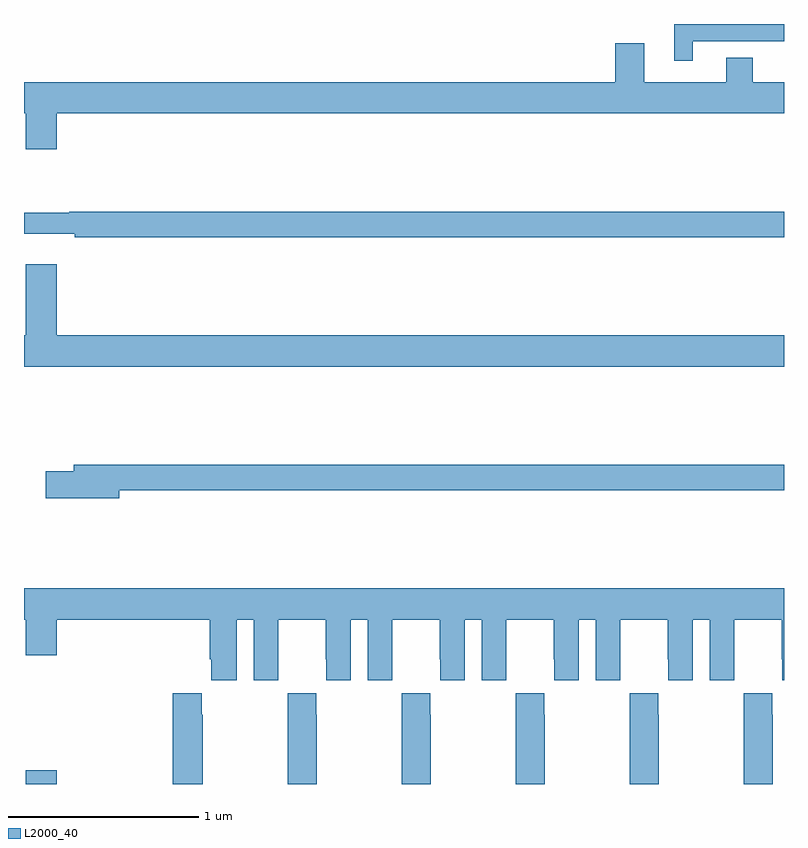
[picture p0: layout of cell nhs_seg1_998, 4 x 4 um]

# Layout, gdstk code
import gdstk
lib = gdstk.Library(unit=1e-6, precision=1e-09)
def R(c, l, rs):  # rectangles x0, y0, x1, y1
    for r in rs: c.add(gdstk.rectangle(r[:2], r[2:], *l))
def P(c, l, *ps):  # polygons
    for p in ps: c.add(gdstk.Polygon(p, *l))
L2000_40 = (2000, 40)

nhs_seg1_998 = lib.new_cell('nhs_seg1_998')
R(nhs_seg1_998, L2000_40, [(165.008,552.199,165.172,552.271)])
P(nhs_seg1_998, L2000_40, [(168.52,556.107),(169,556.107),(169,556.199),(168.422,556.199),(168.422,556.005),(168.52,556.005)],
  [(165.172,555.728),(169,555.728),(169,555.892),(168.835,555.892),(168.835,556.022),(168.695,556.022),(168.695,555.892),(168.265,555.892),(168.265,556.099),(168.113,556.099),(168.113,555.892),(165,555.892),(165,555.728),(165.008,555.728),(165.008,555.54),(165.172,555.54)],
  [(169,555.212),(165.239,555.212),(165.239,555.205),(165,555.205),(165,555.095),(165.268,555.095),(165.268,555.076),(169,555.076)],
  [(169,554.56),(165.172,554.56),(165.172,554.935),(165.008,554.935),(165.008,554.56),(165,554.56),(165,554.396),(169,554.396)],
  [(165.502,553.744),(169,553.744),(169,553.88),(165.263,553.88),(165.263,553.844),(165.114,553.844),(165.114,553.702),(165.502,553.702)],
  [(166.12,553.064),(166.208,553.064),(166.208,552.744),(166.338,552.744),(166.338,552.856),(166.339,552.856),(166.339,553.064),(166.589,553.064),(166.589,552.856),(166.59,552.856),(166.59,552.744),(166.72,552.744),(166.72,553.064),(166.808,553.064),(166.808,552.744),(166.938,552.744),(166.938,552.856),(166.939,552.856),(166.939,553.064),(167.189,553.064),(167.189,552.856),(167.19,552.856),(167.19,552.744),(167.32,552.744),(167.32,553.064),(167.408,553.064),(167.408,552.744),(167.538,552.744),(167.538,552.856),(167.539,552.856),(167.539,553.064),(167.789,553.064),(167.789,552.856),(167.79,552.856),(167.79,552.744),(167.92,552.744),(167.92,553.064),(168.008,553.064),(168.008,552.744),(168.138,552.744),(168.138,552.856),(168.139,552.856),(168.139,553.064),(168.389,553.064),(168.389,552.856),(168.39,552.856),(168.39,552.744),(168.52,552.744),(168.52,553.064),(168.608,553.064),(168.608,552.744),(168.738,552.744),(168.738,552.856),(168.739,552.856),(168.739,553.064),(168.989,553.064),(168.989,552.856),(168.99,552.856),(168.99,552.744),(169,552.744),(169,553.228),(165,553.228),(165,553.064),(165.008,553.064),(165.008,552.876),(165.172,552.876),(165.172,553.064),(165.977,553.064),(165.977,552.856),(165.986,552.856),(165.986,552.744),(166.12,552.744)],
  [(165.942,552.563),(165.935,552.563),(165.935,552.676),(165.782,552.676),(165.782,552.199),(165.942,552.199)],
  [(166.542,552.563),(166.539,552.563),(166.539,552.676),(166.389,552.676),(166.389,552.563),(166.387,552.563),(166.387,552.199),(166.542,552.199)],
  [(167.142,552.563),(167.139,552.563),(167.139,552.676),(166.989,552.676),(166.989,552.563),(166.987,552.563),(166.987,552.199),(167.142,552.199)],
  [(168.942,552.563),(168.939,552.563),(168.939,552.676),(168.789,552.676),(168.789,552.563),(168.787,552.563),(168.787,552.199),(168.942,552.199)],
  [(168.342,552.563),(168.339,552.563),(168.339,552.676),(168.189,552.676),(168.189,552.563),(168.187,552.563),(168.187,552.199),(168.342,552.199)],
  [(167.742,552.563),(167.739,552.563),(167.739,552.676),(167.589,552.676),(167.589,552.563),(167.587,552.563),(167.587,552.199),(167.742,552.199)])

lib.write_gds('nhs_seg1_998.gds')
